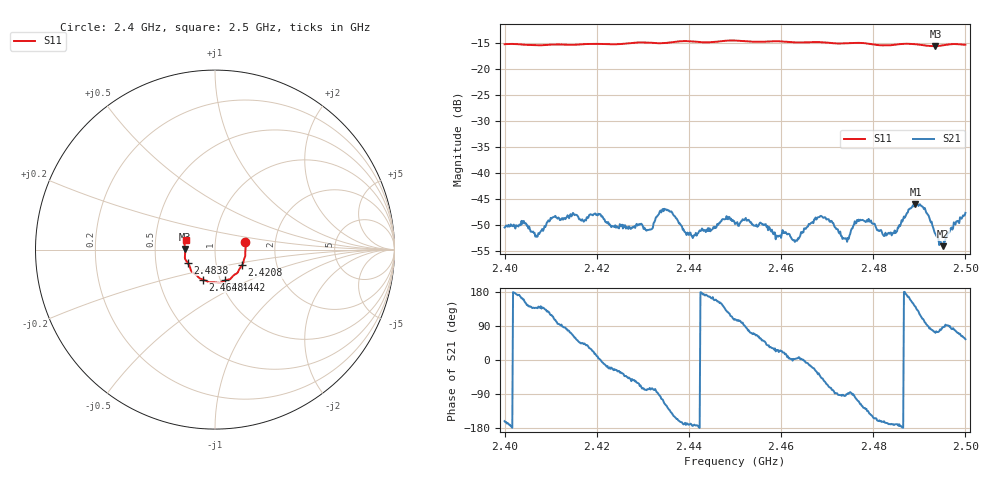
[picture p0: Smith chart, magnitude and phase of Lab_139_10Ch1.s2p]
# Hz S RI R 50
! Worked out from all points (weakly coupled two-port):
!   601 points, 2.4 GHz to 2.5 GHz, reference 50 ohm
!   highest |S21| = -45.99 dB at 2.4892 GHz (marker M1); lowest = -54.1 dB at 2.4952 GHz (marker M2)
!   lowest |S11| = -15.6 dB at 2.4935 GHz (marker M3), VSWR 1.40, Z = 35.8 + j0.201 ohm
!   |S11| at or under -10 dB: start of sweep to end of sweep
!   S12 and S22 are empty: the file has one direction only
!   S11 on the Smith chart (normalised r, x): 2.4 GHz: 1.40, +0.12; 2.4208 GHz: 1.33, -0.24; 2.4442 GHz: 1.05, -0.37; 2.4648 GHz: 0.83, -0.29; 2.4838 GHz: 0.73, -0.11; 2.5 GHz: 0.72, +0.08
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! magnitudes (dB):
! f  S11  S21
! 2.4 GHz  -15.2  -50.5
! 2.4072 GHz  -15.4  -52.2
! 2.4105 GHz  -15.3  -48.5
! 2.4167 GHz  -15.2  -49.2
! 2.4208 GHz  -15.2  -48.0
! 2.4312 GHz  -14.9  -51.0
! 2.4333 GHz  -15.0  -48.1
! 2.4405 GHz  -14.7  -52.0
! 2.4442 GHz  -14.9  -50.6
! 2.45 GHz  -14.5  -49.8
! 2.463 GHz  -14.9  -53.3
! 2.4648 GHz  -14.9  -51.4
! 2.4667 GHz  -14.8  -49.6
! 2.4698 GHz  -14.9  -49.0
! 2.4738 GHz  -15.1  -52.6
! 2.477 GHz  -15.0  -49.2
! 2.4833 GHz  -15.5  -51.5
! 2.4838 GHz  -15.4  -51.5
! 2.4892 GHz  -15.2  -46.0
! 2.4935 GHz  -15.6  -51.7
! 2.4952 GHz  -15.4  -54.1
! 2.5 GHz  -15.3  -47.7
